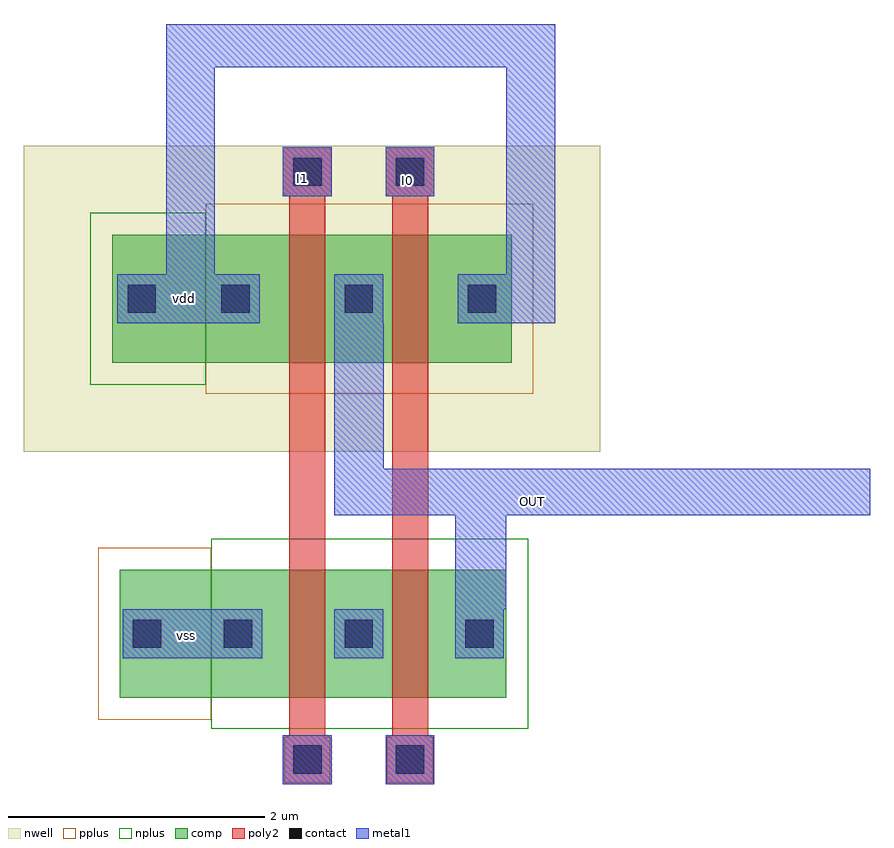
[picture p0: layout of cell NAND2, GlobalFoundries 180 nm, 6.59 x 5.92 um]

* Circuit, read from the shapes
.subckt NAND2 I0 I1 OUT vdd vss
XM1 n1 I1 vss vss nfet_03v3 w=1u l=0.28u
XM2 OUT I0 n1 vss nfet_03v3 w=1u l=0.28u
XM3 OUT I1 vdd vdd pfet_03v3 w=1u l=0.28u
XM4 vdd I0 OUT vdd pfet_03v3 w=1u l=0.28u
.ends

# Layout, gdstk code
from math import pi, radians
import gdstk
lib = gdstk.Library(unit=1e-6, precision=5e-09)
def R(c, l, rs):  # rectangles x0, y0, x1, y1
    for r in rs: c.add(gdstk.rectangle(r[:2], r[2:], *l))
def A(c, l, x, y, w, h, nx, ny, dx, dy):  # array of equal rectangles
    R(c, l, [(x+i*dx, y+j*dy, x+i*dx+w, y+j*dy+h) for i in range(nx) for j in range(ny)])
nwell = (21, 0)
comp = (22, 0)
poly2 = (30, 0)
pplus = (31, 0)
nplus = (32, 0)
contact = (33, 0)
metal1 = (34, 0)

pfet_1 = lib.new_cell('pfet$1')
R(pfet_1, nwell, [(-1.15,-0.69,3.34,1.69)])
R(pfet_1, comp, [(-0.46,0,0,1), (0,0,1.46,1), (1.46,0,1.92,1), (1.92,0,2.65,1)])
R(pfet_1, poly2, [(0.19,-0.3,0.47,1.3), (0.99,-0.3,1.27,1.3), (0.14,1.3,0.52,1.68), (0.94,1.3,1.32,1.68)])
R(pfet_1, pplus, [(-0.63,-0.24,1.92,1.24)])
R(pfet_1, nplus, [(1.92,-0.17,2.82,1.17)])
A(pfet_1, contact, -0.34, 0.39, 0.22, 0.22, 3, 1, 0.96, 0)
R(pfet_1, contact, [(2.31,0.39,2.53,0.61), (0.22,1.38,0.44,1.6), (1.02,1.38,1.24,1.6)])
A(pfet_1, metal1, -0.42, 0.31, 0.38, 0.38, 3, 1, 0.96, 0)
R(pfet_1, metal1, [(2.23,0.31,2.61,0.69), (0.14,1.3,0.52,1.68), (0.94,1.3,1.32,1.68)])

nfet_1 = lib.new_cell('nfet$1')
R(nfet_1, comp, [(-0.42,0,0,1), (0,0,1.46,1), (1.46,0,1.88,1), (1.88,0,2.59,1)])
R(nfet_1, poly2, [(0.19,-0.3,0.47,1.3), (0.99,-0.3,1.27,1.3), (0.15,1.3,0.51,1.66), (0.95,1.3,1.31,1.66)])
R(nfet_1, pplus, [(1.88,-0.17,2.76,1.17)])
R(nfet_1, nplus, [(-0.59,-0.24,1.88,1.24)])
A(nfet_1, contact, -0.32, 0.39, 0.22, 0.22, 3, 1, 0.94, 0)
R(nfet_1, contact, [(2.27,0.39,2.49,0.61), (0.22,1.37,0.44,1.59), (1.02,1.37,1.24,1.59)])
A(nfet_1, metal1, -0.4, 0.31, 0.38, 0.38, 3, 1, 0.94, 0)
R(nfet_1, metal1, [(2.19,0.31,2.57,0.69), (0.14,1.29,0.52,1.67), (0.94,1.29,1.32,1.67)])

nand2 = lib.new_cell('NAND2')
R(nand2, poly2, [(-0.135,1.265,0.145,2.275), (0.665,1.265,0.945,2.275)])
R(nand2, metal1, [(-1.055,0.275,-0.725,0.655), (1.155,0.655,1.555,1.39), (0.215,1.39,0.6,2.885), (0.215,1.39,4.39,1.75), (-1.095,2.885,-0.745,3.265), (1.555,2.885,1.935,5.215), (-1.095,3.265,-0.715,5.215), (-0.715,4.88,1.555,5.215)])
nand2.add(gdstk.Reference(pfet_1, (1.135,2.575), rotation=pi, x_reflection=True))
nand2.add(gdstk.Reference(nfet_1, (1.135,0.965), rotation=pi))
nand2.add(gdstk.Label('vdd', (-0.955,3.075), layer=34, texttype=10))
nand2.add(gdstk.Label('vss', (-0.935,0.455), layer=34, texttype=10))
nand2.add(gdstk.Label('I1', (-0.035,4.01), layer=34, texttype=10))
nand2.add(gdstk.Label('I0', (0.785,3.995), layer=34, texttype=10))
nand2.add(gdstk.Label('OUT', (1.76,1.495), layer=34, texttype=10))

lib.write_gds('NAND2.gds')
